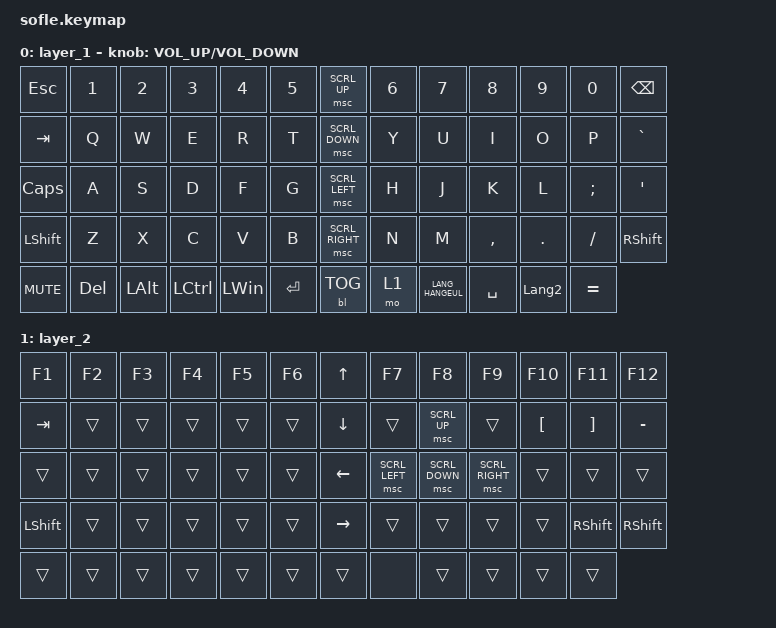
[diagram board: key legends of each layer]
#include <behaviors.dtsi>
#include <dt-bindings/zmk/backlight.h>
#include <dt-bindings/zmk/keys.h>
#include <dt-bindings/zmk/pointing.h>

/ {
    keymap {
        compatible = "zmk,keymap";

        layer_1 {
            bindings = <
&kp ESC     &kp N1   &kp N2    &kp N3     &kp N4        &kp N5       &msc SCRL_UP     &kp N6  &kp N7            &kp N8     &kp N9          &kp N0     &kp BSPC
&kp TAB     &kp Q    &kp W     &kp E      &kp R         &kp T        &msc SCRL_DOWN   &kp Y   &kp U             &kp I      &kp O           &kp P      &kp GRAVE
&kp CAPS    &kp A    &kp S     &kp D      &kp F         &kp G        &msc SCRL_LEFT   &kp H   &kp J             &kp K      &kp L           &kp SEMI   &kp APOS
&kp LSHFT   &kp Z    &kp X     &kp C      &kp V         &kp B        &msc SCRL_RIGHT  &kp N   &kp M             &kp COMMA  &kp DOT         &kp FSLH   &kp RSHFT
&kp K_MUTE  &kp DEL  &kp LALT  &kp LCTRL  &kp LEFT_WIN  &kp ENTER    &bl BL_TOG       &mo 1   &kp LANG_HANGEUL  &kp SPACE  &kp LANGUAGE_2  &kp EQUAL
            >;

            sensor-bindings = <&inc_dec_kp C_VOLUME_UP C_VOLUME_DOWN>;
        };

        layer_2 {
            bindings = <
&kp F1     &kp F2  &kp F3  &kp F4  &kp F5  &kp F6    &kp UP     &kp F7          &kp F8          &kp F9           &kp F10   &kp F11    &kp F12
&kp TAB    &trans  &trans  &trans  &trans  &trans    &kp DOWN   &trans          &msc SCRL_UP    &trans           &kp LBKT  &kp RBKT   &kp MINUS
&trans     &trans  &trans  &trans  &trans  &trans    &kp LEFT   &msc SCRL_LEFT  &msc SCRL_DOWN  &msc SCRL_RIGHT  &trans    &trans     &trans
&kp LSHFT  &trans  &trans  &trans  &trans  &trans    &kp RIGHT  &trans          &trans          &trans           &trans    &kp RSHFT  &kp RSHFT
&trans     &trans  &trans  &trans  &trans  &trans    &trans     &none           &trans          &trans           &trans    &trans
            >;
        };
    };
};
